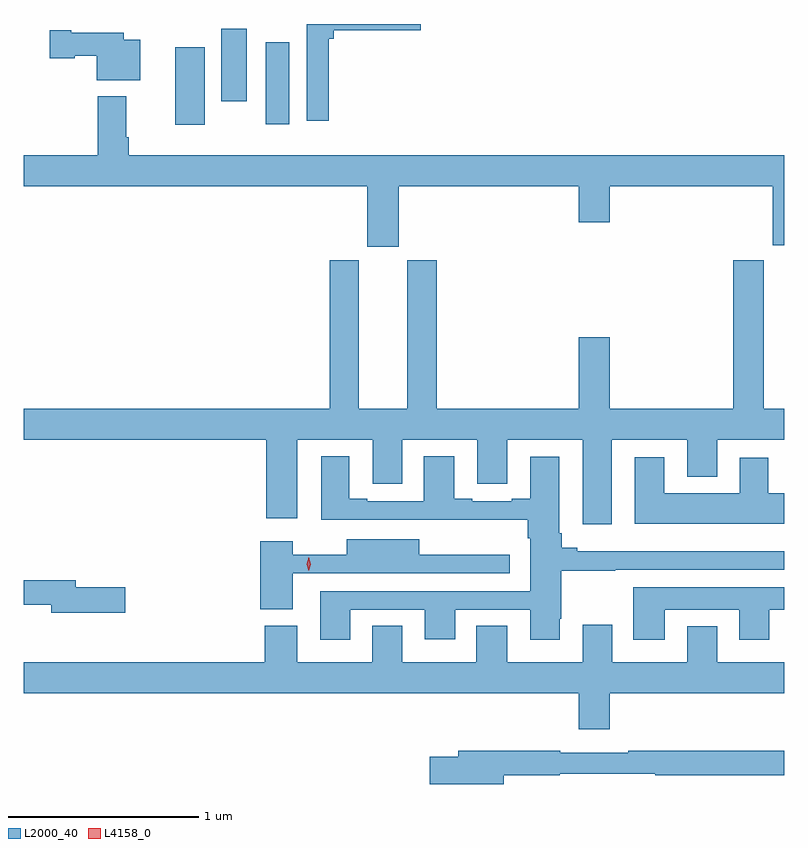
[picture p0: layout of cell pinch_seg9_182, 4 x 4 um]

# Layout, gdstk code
import gdstk
lib = gdstk.Library(unit=1e-6, precision=1e-09)
def R(c, l, rs):  # rectangles x0, y0, x1, y1
    for r in rs: c.add(gdstk.rectangle(r[:2], r[2:], *l))
def P(c, l, *ps):  # polygons
    for p in ps: c.add(gdstk.Polygon(p, *l))
L2000_40 = (2000, 40)
L4158_0 = (4158, 0)

pinch_seg9_182 = lib.new_cell('pinch_seg9_182')
R(pinch_seg9_182, L2000_40, [(762.287,1195.413,762.442,1195.819), (762.764,1195.416,762.886,1195.846), (762.53,1195.536,762.664,1195.916)])
P(pinch_seg9_182, L2000_40, [(763.094,1195.865),(763.121,1195.865),(763.121,1195.91),(763.579,1195.91),(763.579,1195.942),(762.978,1195.942),(762.978,1195.434),(763.094,1195.434)],
  [(762.103,1195.858),(762.016,1195.858),(762.016,1195.897),(761.74,1195.897),(761.74,1195.91),(761.628,1195.91),(761.628,1195.763),(761.76,1195.763),(761.76,1195.775),(761.876,1195.775),(761.876,1195.646),(762.103,1195.646)],
  [(763.462,1195.088),(764.408,1195.088),(764.408,1194.9),(764.572,1194.9),(764.572,1195.088),(765.428,1195.088),(765.428,1194.779),(765.49,1194.779),(765.49,1195.252),(762.044,1195.252),(762.044,1195.348),(762.031,1195.348),(762.031,1195.561),(761.879,1195.561),(761.879,1195.252),(761.49,1195.252),(761.49,1195.088),(763.298,1195.088),(763.298,1194.771),(763.462,1194.771)],
  [(764.581,1193.756),(764.978,1193.756),(764.978,1193.562),(765.136,1193.562),(765.136,1193.756),(765.49,1193.756),(765.49,1193.92),(765.381,1193.92),(765.381,1194.7),(765.221,1194.7),(765.221,1193.92),(764.572,1193.92),(764.572,1194.295),(764.408,1194.295),(764.408,1193.92),(763.661,1193.92),(763.661,1194.699),(763.508,1194.699),(763.508,1193.92),(763.252,1193.92),(763.252,1194.699),(763.1,1194.699),(763.1,1193.92),(761.49,1193.92),(761.49,1193.756),(762.767,1193.756),(762.767,1193.343),(762.928,1193.343),(762.928,1193.756),(763.325,1193.756),(763.325,1193.526),(763.48,1193.526),(763.48,1193.756),(763.874,1193.756),(763.874,1193.526),(764.032,1193.526),(764.032,1193.756),(764.429,1193.756),(764.429,1193.313),(764.581,1193.313)],
  [(763.207,1192.863),(763.598,1192.863),(763.598,1192.707),(763.759,1192.707),(763.759,1192.863),(764.153,1192.863),(764.153,1192.704),(764.308,1192.704),(764.308,1192.816),(764.316,1192.816),(764.316,1193.068),(764.6,1193.068),(764.6,1193.073),(765.49,1193.073),(765.49,1193.17),(764.401,1193.17),(764.401,1193.189),(764.318,1193.189),(764.318,1193.266),(764.305,1193.266),(764.305,1193.668),(764.153,1193.668),(764.153,1193.446),(764.057,1193.446),(764.057,1193.433),(763.849,1193.433),(763.849,1193.446),(763.753,1193.446),(763.753,1193.671),(763.595,1193.671),(763.595,1193.433),(763.297,1193.433),(763.297,1193.446),(763.201,1193.446),(763.201,1193.671),(763.055,1193.671),(763.055,1193.337),(763.599,1193.337),(763.599,1193.336),(764.141,1193.336),(764.141,1193.24),(764.153,1193.24),(764.153,1192.959),(763.049,1192.959),(763.049,1192.704),(763.207,1192.704)],
  [(765.49,1193.476),(765.406,1193.476),(765.406,1193.662),(765.254,1193.662),(765.254,1193.476),(764.857,1193.476),(764.857,1193.665),(764.702,1193.665),(764.702,1193.315),(765.49,1193.315)],
  [(762.904,1193.055),(764.047,1193.055),(764.047,1193.153),(763.57,1193.153),(763.57,1193.233),(763.19,1193.233),(763.19,1193.153),(762.904,1193.153),(762.904,1193.224),(762.734,1193.224),(762.734,1192.865),(762.904,1192.865)],
  [(762.025,1192.982),(761.764,1192.982),(761.764,1193.018),(761.49,1193.018),(761.49,1192.89),(761.636,1192.89),(761.636,1192.847),(762.025,1192.847)],
  [(764.86,1192.862),(765.251,1192.862),(765.251,1192.704),(765.409,1192.704),(765.409,1192.862),(765.49,1192.862),(765.49,1192.981),(764.696,1192.981),(764.696,1192.704),(764.86,1192.704)],
  [(764.572,1192.424),(765.49,1192.424),(765.49,1192.588),(765.136,1192.588),(765.136,1192.777),(764.978,1192.777),(764.978,1192.588),(764.584,1192.588),(764.584,1192.783),(764.429,1192.783),(764.429,1192.588),(764.032,1192.588),(764.032,1192.778),(763.871,1192.778),(763.871,1192.588),(763.48,1192.588),(763.48,1192.778),(763.322,1192.778),(763.322,1192.588),(762.928,1192.588),(762.928,1192.78),(762.758,1192.78),(762.758,1192.588),(761.49,1192.588),(761.49,1192.424),(764.408,1192.424),(764.408,1192.236),(764.572,1192.236)],
  [(764.014,1191.994),(764.31,1191.994),(764.31,1192.002),(764.81,1192.002),(764.81,1191.994),(765.49,1191.994),(765.49,1192.123),(764.668,1192.123),(764.668,1192.11),(764.312,1192.11),(764.312,1192.123),(763.775,1192.123),(763.775,1192.089),(763.626,1192.089),(763.626,1191.947),(764.014,1191.947)])
P(pinch_seg9_182, L4158_0, [(762.988,1193.067),(762.979,1193.103),(762.988,1193.139),(762.989,1193.139),(762.989,1193.139),(762.999,1193.103),(762.989,1193.067),(762.989,1193.067)])

lib.write_gds('pinch_seg9_182.gds')
